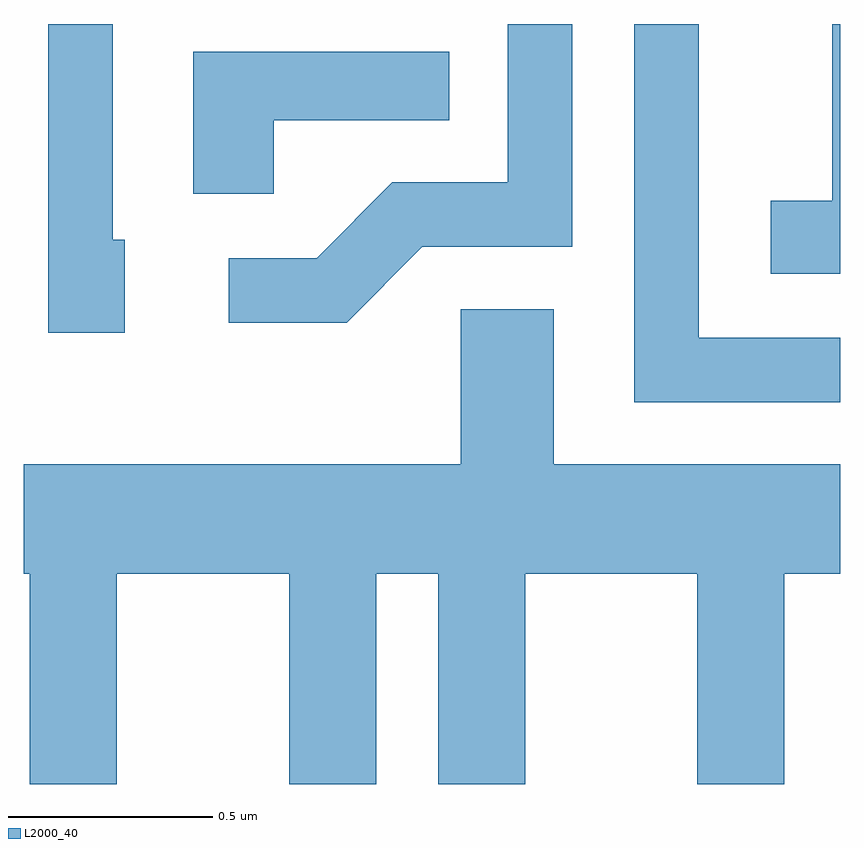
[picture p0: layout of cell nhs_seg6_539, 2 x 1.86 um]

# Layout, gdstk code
import gdstk
lib = gdstk.Library(unit=1e-6, precision=1e-09)
def P(c, l, *ps):  # polygons
    for p in ps: c.add(gdstk.Polygon(p, *l))
L2000_40 = (2000, 40)

nhs_seg6_539 = lib.new_cell('nhs_seg6_539')
P(nhs_seg6_539, L2000_40, [(189.587,1659.616),(189.954,1659.616),(189.954,1660.162),(189.796,1660.162),(189.796,1659.774),(189.514,1659.774),(189.329,1659.589),(189.113,1659.589),(189.113,1659.431),(189.402,1659.431)],
  [(190.611,1660.162),(190.591,1660.162),(190.591,1659.729),(190.441,1659.729),(190.441,1659.551),(190.611,1659.551)],
  [(188.859,1659.634),(188.829,1659.634),(188.829,1660.162),(188.671,1660.162),(188.671,1659.406),(188.859,1659.406)],
  [(190.611,1659.394),(190.264,1659.394),(190.264,1660.162),(190.106,1660.162),(190.106,1659.236),(190.611,1659.236)],
  [(189.224,1659.926),(189.653,1659.926),(189.653,1660.094),(189.026,1660.094),(189.026,1659.746),(189.224,1659.746)],
  [(188.839,1658.816),(189.261,1658.816),(189.261,1658.301),(189.474,1658.301),(189.474,1658.816),(189.626,1658.816),(189.626,1658.301),(189.839,1658.301),(189.839,1658.816),(190.261,1658.816),(190.261,1658.301),(190.474,1658.301),(190.474,1658.816),(190.611,1658.816),(190.611,1659.084),(189.909,1659.084),(189.909,1659.464),(189.681,1659.464),(189.681,1659.084),(188.611,1659.084),(188.611,1658.816),(188.626,1658.816),(188.626,1658.301),(188.839,1658.301)])

lib.write_gds('nhs_seg6_539.gds')
